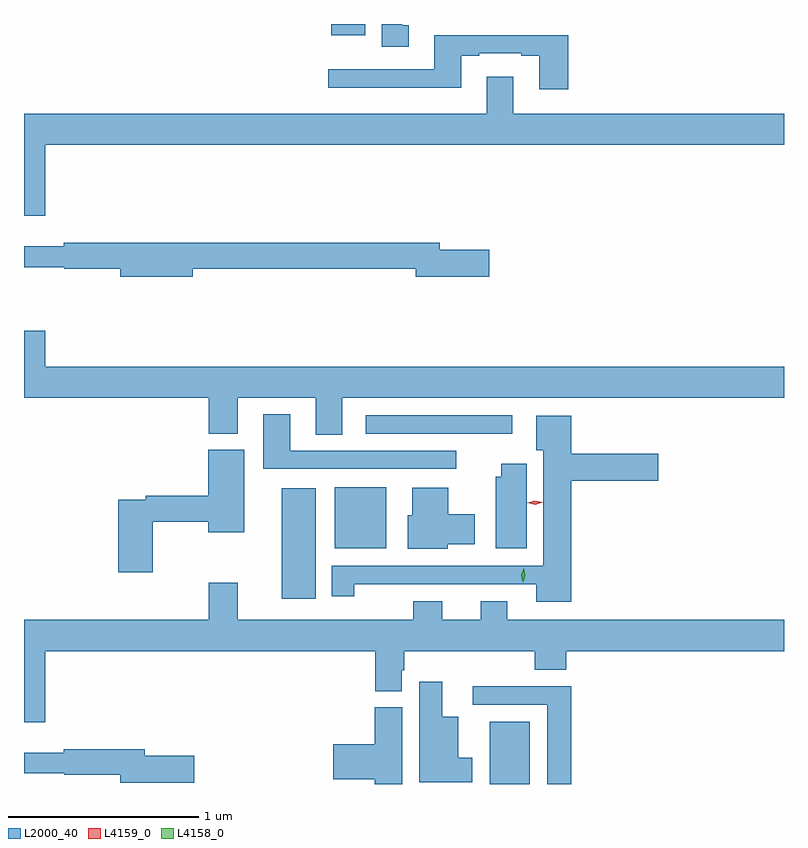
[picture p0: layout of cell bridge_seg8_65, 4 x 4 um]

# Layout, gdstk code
import gdstk
lib = gdstk.Library(unit=1e-6, precision=1e-09)
def R(c, l, rs):  # rectangles x0, y0, x1, y1
    for r in rs: c.add(gdstk.rectangle(r[:2], r[2:], *l))
def P(c, l, *ps):  # polygons
    for p in ps: c.add(gdstk.Polygon(p, *l))
L2000_40 = (2000, 40)
L4158_0 = (4158, 0)
L4159_0 = (4159, 0)

bridge_seg8_65 = lib.new_cell('bridge_seg8_65')
R(bridge_seg8_65, L2000_40, [(1042.634,1113.136,1042.846,1113.463), (1041.539,1114.112,1041.718,1114.693), (1041.818,1114.376,1042.09,1114.699), (1041.981,1114.98,1042.753,1115.076), (1041.8,1117.076,1041.979,1117.136)])
P(bridge_seg8_65, L2000_40, [(1042.207,1117.13),(1042.174,1117.13),(1042.174,1117.136),(1042.067,1117.136),(1042.067,1117.017),(1042.207,1117.017)],
  [(1043.048,1117.078),(1042.343,1117.078),(1042.343,1116.897),(1041.783,1116.897),(1041.783,1116.8),(1042.483,1116.8),(1042.483,1116.969),(1042.579,1116.969),(1042.579,1116.981),(1042.799,1116.981),(1042.799,1116.969),(1042.895,1116.969),(1042.895,1116.792),(1043.048,1116.792)],
  [(1040.296,1116.5),(1044.183,1116.5),(1044.183,1116.664),(1042.759,1116.664),(1042.759,1116.859),(1042.619,1116.859),(1042.619,1116.664),(1040.183,1116.664),(1040.183,1116.126),(1040.296,1116.126)],
  [(1041.07,1115.848),(1042.244,1115.848),(1042.244,1115.806),(1042.632,1115.806),(1042.632,1115.948),(1042.372,1115.948),(1042.372,1115.984),(1040.392,1115.984),(1040.392,1115.965),(1040.183,1115.965),(1040.183,1115.856),(1040.394,1115.856),(1040.394,1115.848),(1040.69,1115.848),(1040.69,1115.806),(1041.07,1115.806)],
  [(1041.859,1115.168),(1044.183,1115.168),(1044.183,1115.332),(1040.296,1115.332),(1040.296,1115.521),(1040.183,1115.521),(1040.183,1115.168),(1041.155,1115.168),(1041.155,1114.979),(1041.307,1114.979),(1041.307,1115.168),(1041.719,1115.168),(1041.719,1114.975),(1041.859,1114.975)],
  [(1042.459,1114.89),(1041.583,1114.89),(1041.583,1115.083),(1041.443,1115.083),(1041.443,1114.794),(1042.459,1114.794)],
  [(1043.063,1114.733),(1043.521,1114.733),(1043.521,1114.875),(1043.063,1114.875),(1043.063,1115.074),(1042.88,1115.074),(1042.88,1114.892),(1042.916,1114.892),(1042.916,1114.284),(1041.803,1114.284),(1041.803,1114.125),(1041.921,1114.125),(1041.921,1114.187),(1042.148,1114.187),(1042.148,1114.188),(1042.88,1114.188),(1042.88,1114.094),(1043.063,1114.094)],
  [(1040.861,1114.516),(1041.152,1114.516),(1041.152,1114.46),(1041.343,1114.46),(1041.343,1114.894),(1041.152,1114.894),(1041.152,1114.652),(1040.824,1114.652),(1040.824,1114.632),(1040.678,1114.632),(1040.678,1114.251),(1040.861,1114.251)],
  [(1042.828,1114.822),(1042.694,1114.822),(1042.694,1114.752),(1042.667,1114.752),(1042.667,1114.376),(1042.828,1114.376)],
  [(1042.413,1114.397),(1042.555,1114.397),(1042.555,1114.555),(1042.417,1114.555),(1042.417,1114.696),(1042.226,1114.696),(1042.226,1114.551),(1042.202,1114.551),(1042.202,1114.373),(1042.413,1114.373)],
  [(1040.296,1113.836),(1042.031,1113.836),(1042.031,1113.625),(1042.171,1113.625),(1042.171,1113.735),(1042.184,1113.735),(1042.184,1113.836),(1042.871,1113.836),(1042.871,1113.737),(1043.036,1113.737),(1043.036,1113.836),(1044.183,1113.836),(1044.183,1114),(1042.726,1114),(1042.726,1114.099),(1042.586,1114.099),(1042.586,1114),(1042.384,1114),(1042.384,1114.099),(1042.232,1114.099),(1042.232,1114),(1041.307,1114),(1041.307,1114.195),(1041.155,1114.195),(1041.155,1114),(1040.183,1114),(1040.183,1113.462),(1040.296,1113.462)],
  [(1042.543,1113.274),(1042.468,1113.274),(1042.468,1113.49),(1042.384,1113.49),(1042.384,1113.673),(1042.262,1113.673),(1042.262,1113.146),(1042.543,1113.146)],
  [(1043.063,1113.65),(1042.545,1113.65),(1042.545,1113.552),(1042.937,1113.552),(1042.937,1113.136),(1043.063,1113.136)],
  [(1042.174,1113.54),(1042.028,1113.54),(1042.028,1113.344),(1041.81,1113.344),(1041.81,1113.161),(1042.028,1113.161),(1042.028,1113.136),(1042.174,1113.136)],
  [(1041.079,1113.284),(1040.818,1113.284),(1040.818,1113.32),(1040.392,1113.32),(1040.392,1113.301),(1040.183,1113.301),(1040.183,1113.192),(1040.394,1113.192),(1040.394,1113.184),(1040.69,1113.184),(1040.69,1113.142),(1041.079,1113.142)])
P(bridge_seg8_65, L4158_0, [(1042.809,1114.2),(1042.809,1114.2),(1042.801,1114.236),(1042.812,1114.272),(1042.812,1114.272),(1042.812,1114.272),(1042.821,1114.235),(1042.81,1114.2)])
P(bridge_seg8_65, L4159_0, [(1042.873,1114.607),(1042.832,1114.616),(1042.832,1114.616),(1042.832,1114.616),(1042.872,1114.627),(1042.913,1114.618),(1042.913,1114.618),(1042.913,1114.618)])

lib.write_gds('bridge_seg8_65.gds')
